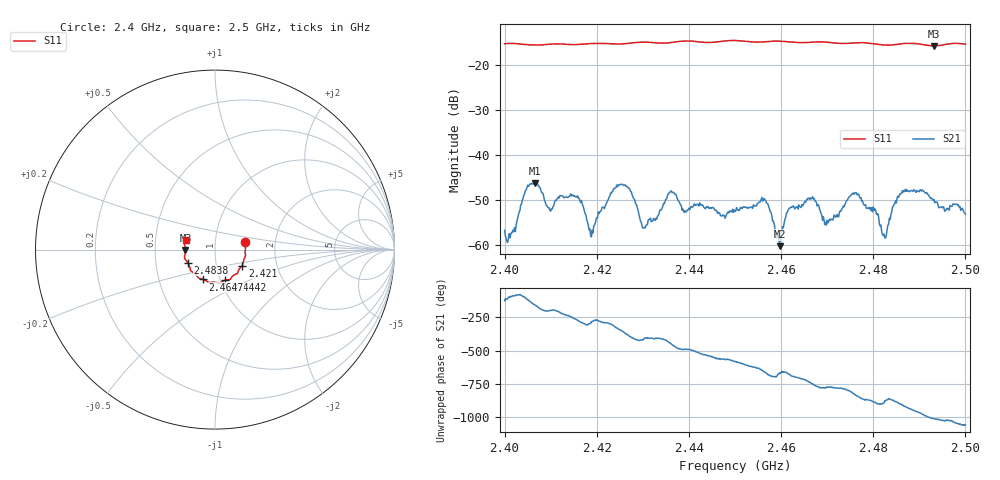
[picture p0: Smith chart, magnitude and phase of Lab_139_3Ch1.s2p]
# Hz S RI R 50
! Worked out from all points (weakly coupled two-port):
!   601 points, 2.4 GHz to 2.5 GHz, reference 50 ohm
!   highest |S21| = -46.33 dB at 2.4065 GHz (marker M1); lowest = -60.4 dB at 2.4597 GHz (marker M2)
!   lowest |S11| = -15.7 dB at 2.4932 GHz (marker M3), VSWR 1.39, Z = 35.8 - j0.127 ohm
!   |S11| at or under -10 dB: start of sweep to end of sweep
!   S12 and S22 are empty: the file has one direction only
!   S11 on the Smith chart (normalised r, x): 2.4 GHz: 1.40, +0.12; 2.421 GHz: 1.33, -0.24; 2.4442 GHz: 1.05, -0.37; 2.4647 GHz: 0.83, -0.28; 2.4838 GHz: 0.73, -0.11; 2.5 GHz: 0.71, +0.08
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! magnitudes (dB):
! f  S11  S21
! 2.4 GHz  -15.2  -56.8
! 2.4065 GHz  -15.5  -46.3
! 2.4167 GHz  -15.3  -50.2
! 2.4187 GHz  -15.1  -57.9
! 2.421 GHz  -15.1  -52.2
! 2.4257 GHz  -15.2  -46.6
! 2.43 GHz  -14.8  -56.3
! 2.4333 GHz  -15.0  -53.5
! 2.4362 GHz  -14.9  -48.0
! 2.4442 GHz  -14.9  -51.5
! 2.45 GHz  -14.5  -52.6
! 2.4563 GHz  -14.8  -49.7
! 2.4597 GHz  -14.6  -60.4
! 2.4647 GHz  -14.9  -51.4
! 2.4667 GHz  -14.8  -49.7
! 2.4698 GHz  -14.8  -55.7
! 2.4763 GHz  -15.0  -48.5
! 2.4833 GHz  -15.5  -55.5
! 2.4838 GHz  -15.5  -53.3
! 2.4868 GHz  -15.1  -48.1
! 2.4932 GHz  -15.7  -49.9
! 2.5 GHz  -15.3  -53.2
